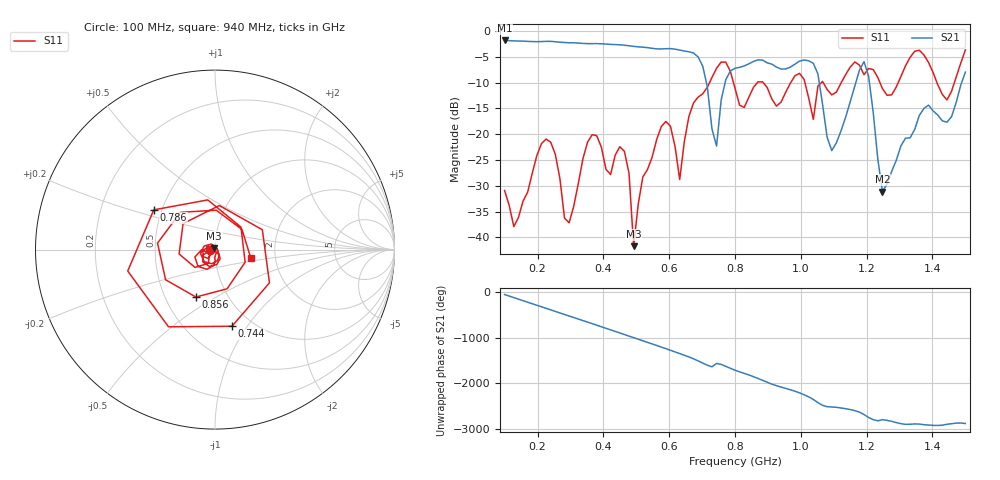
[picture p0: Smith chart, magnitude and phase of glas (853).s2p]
! NanoVNA-App
! Date: 2025-09-25 16:02:07
! Start: 100MHz Stop: 1,5GHz Points: 101
! S-Parameter data: F S11 S21 S12 S22
# Hz S RI R 50
!  Frequency  S11_Real  S11_Imag  S21_Real  S21_Imag  S12_Real  S12_Imag  S22_Real  S22_Imag
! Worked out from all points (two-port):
!   101 points, 100 MHz to 1.5 GHz, reference 50 ohm
!   highest |S21| = -1.80 dB at 100 MHz (marker M1); lowest = -31.1 dB at 1.248 GHz (marker M2)
!   |S21| within 3 dB of the highest: start of sweep to 684.4 MHz
!   lowest |S11| = -41.7 dB at 492 MHz (marker M3), VSWR 1.02, Z = 49.5 + j0.65 ohm
!   |S11| at or under -10 dB: start of sweep to 722.5 MHz; 795.4 MHz to 867.8 MHz (72.35 MHz wide, 8.7 % of centre); 886 MHz to 969.1 MHz (83.08 MHz wide, 8.96 % of centre) (the widest 3 of 7)
!   S12 and S22 are empty: the file has one direction only
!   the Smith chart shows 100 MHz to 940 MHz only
!   S11 on the Smith chart (normalised r, x): 100 MHz: 0.94, -0.01; 744 MHz: 0.81, -0.85; 786 MHz: 0.45, +0.24; 856 MHz: 0.71, -0.41; 940 MHz: 1.49, -0.15
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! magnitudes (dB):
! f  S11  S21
! 100 MHz  -30.9  -1.8
! 128 MHz  -37.9  -1.9
! 226 MHz  -20.9  -2.0
! 296 MHz  -37.2  -2.2
! 338 MHz  -24.7  -2.4
! 464 MHz  -23.3  -2.7
! 492 MHz  -41.7  -2.9
! 576 MHz  -18.5  -3.5
! 632 MHz  -28.8  -3.7
! 702 MHz  -12.2  -6.8
! 744 MHz  -7.2  -22.3
! 786 MHz  -7.8  -7.7
! 800 MHz  -11.1  -7.2
! 856 MHz  -10.9  -5.9
! 940 MHz  -13.7  -7.3
! 1.038 GHz  -17.1  -6.2
! 1.094 GHz  -12.4  -23.2
! 1.192 GHz  -8.5  -5.9
! 1.248 GHz  -11.1  -31.1
! 1.276 GHz  -12.4  -27.2
! 1.444 GHz  -13.3  -17.7
! 1.5 GHz  -3.6  -7.9
